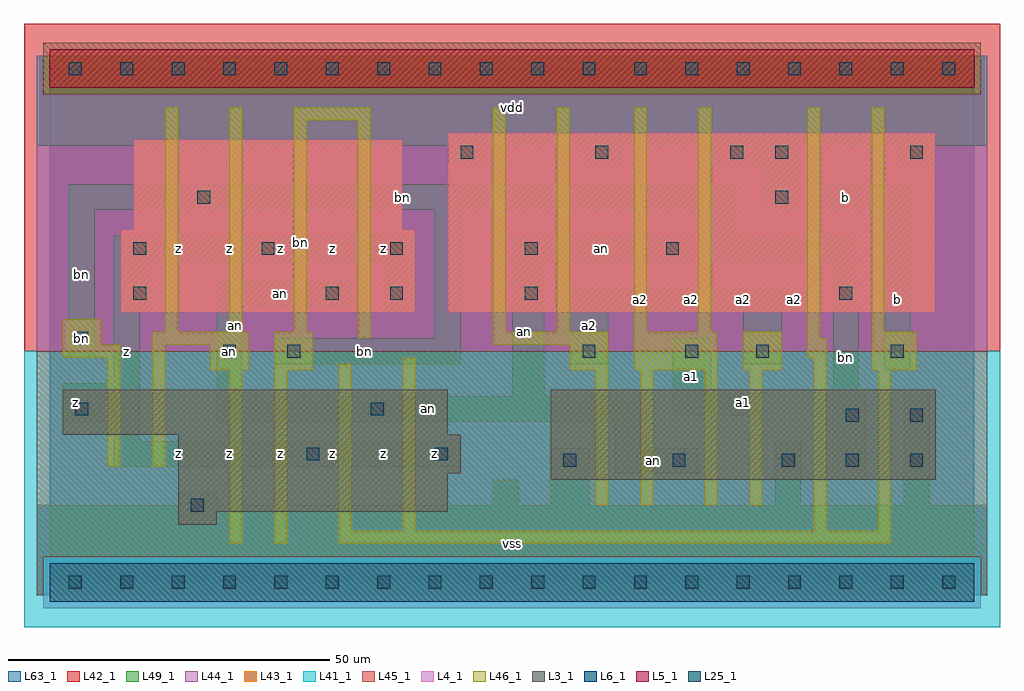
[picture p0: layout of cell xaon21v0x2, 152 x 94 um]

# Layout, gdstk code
import gdstk
lib = gdstk.Library(unit=1e-6, precision=1e-09)
def R(c, l, rs):  # rectangles x0, y0, x1, y1
    for r in rs: c.add(gdstk.rectangle(r[:2], r[2:], *l))
def A(c, l, x, y, w, h, nx, ny, dx, dy):  # array of equal rectangles
    R(c, l, [(x+i*dx, y+j*dy, x+i*dx+w, y+j*dy+h) for i in range(nx) for j in range(ny)])
L3_1 = (3, 1)
L4_1 = (4, 1)
L5_1 = (5, 1)
L6_1 = (6, 1)
L25_1 = (25, 1)
L41_1 = (41, 1)
L42_1 = (42, 1)
L43_1 = (43, 1)
L44_1 = (44, 1)
L45_1 = (45, 1)
L46_1 = (46, 1)
L49_1 = (49, 1)
L63_1 = (63, 1)

xaon21v0x2 = lib.new_cell('xaon21v0x2')
R(xaon21v0x2, L3_1, [(20,9,26,11), (20,11,62,17), (78,16,138,30), (20,17,64,23), (2,23,62,30)])
R(xaon21v0x2, L4_1, [(11,42,57,55), (62,42,138,70), (13,55,55,69)])
R(xaon21v0x2, L5_1, [(0,77,144,83)])
R(xaon21v0x2, L6_1, [(0,-3,144,3), (0,-3,144,3)])
A(xaon21v0x2, L25_1, 3, -1, 2, 2, 18, 2, 8, 80)
A(xaon21v0x2, L25_1, 80, 18, 2, 2, 3, 1, 17, 0)
A(xaon21v0x2, L25_1, 13, 51, 2, 2, 3, 1, 20, 0)
A(xaon21v0x2, L25_1, 64, 66, 2, 2, 3, 1, 21, 0)
R(xaon21v0x2, L25_1, [(22,11,24,13), (124,18,126,20), (134,18,136,20), (40,19,42,21), (60,19,62,21), (124,25,126,27), (134,25,136,27), (4,26,6,28), (50,26,52,28), (27,35,29,37), (37,35,39,37), (83,35,85,37), (99,35,101,37), (110,35,112,37), (131,35,133,37), (4,37,6,39), (13,44,15,46), (43,44,45,46), (53,44,55,46), (74,44,76,46), (123,44,125,46), (74,51,76,53), (96,51,98,53), (23,59,25,61), (113,59,115,61), (113,66,115,68), (134,66,136,68)])
R(xaon21v0x2, L41_1, [(-4,-7,148,36)])
R(xaon21v0x2, L42_1, [(-4,36,148,87)])
R(xaon21v0x2, L43_1, [(0,-3,144,3), (20,9,26,11), (20,11,62,17), (78,16,138,30), (20,17,64,23), (2,23,62,30), (11,42,57,55), (62,42,138,70), (13,55,55,69), (0,77,144,83)])
R(xaon21v0x2, L44_1, [(-1,-4,145,4), (-2,36,146,76), (-2,76,-1,82), (145,76,146,82)])
R(xaon21v0x2, L45_1, [(-2,-2,-1,4), (145,-2,146,4), (-2,4,146,36), (-1,76,145,84)])
R(xaon21v0x2, L46_1, [(28,6,30,33), (35,6,37,33), (45,6,131,8), (45,8,47,34), (55,8,57,35), (119,8,121,35), (129,8,131,33), (85,12,87,33), (92,12,94,33), (102,12,104,33), (109,12,111,33), (9,18,11,35), (16,18,18,37), (25,33,31,37), (35,33,41,39), (81,33,87,37), (91,33,104,39), (108,33,114,39), (128,33,135,39), (2,35,11,37), (118,35,121,38), (2,37,8,41), (16,37,31,39), (69,37,87,39), (48,38,50,72), (118,38,120,74), (18,39,20,74), (28,39,30,74), (38,39,40,72), (69,39,71,74), (79,39,81,74), (91,39,93,74), (101,39,103,74), (128,39,130,74), (38,72,50,74)])
R(xaon21v0x2, L49_1, [(-2,-2,146,12), (20,12,26,14), (69,12,73,16), (78,12,84,21), (113,12,117,22), (133,12,137,29), (122,16,127,29), (88,17,101,21), (10,18,64,22), (88,21,92,25), (10,22,14,25), (2,25,14,31), (26,25,92,29), (97,26,111,30), (26,29,30,43), (72,29,77,50), (122,29,126,50), (97,30,103,38), (10,31,14,42), (130,33,134,58), (35,34,64,38), (81,34,87,42), (108,34,114,42), (3,35,7,58), (60,38,64,58), (10,42,16,50), (52,42,57,50), (81,42,119,46), (26,43,47,47), (10,50,57,54), (72,50,100,54), (103,50,126,54), (103,54,107,58), (3,58,107,62), (111,58,117,65), (121,58,134,62), (62,65,68,68), (83,65,89,68), (103,65,117,68), (132,65,138,68), (-2,68,146,82)])
R(xaon21v0x2, L63_1, [(0,0,144,80)])
xaon21v0x2.add(gdstk.Label('bn', (5,38), layer=49, texttype=1))
xaon21v0x2.add(gdstk.Label('an', (29,40), layer=46, texttype=1))
xaon21v0x2.add(gdstk.Label('bn', (39,53), layer=46, texttype=1))
xaon21v0x2.add(gdstk.Label('z', (20,20), layer=49, texttype=1))
xaon21v0x2.add(gdstk.Label('z', (4,28), layer=49, texttype=1))
xaon21v0x2.add(gdstk.Label('z', (12,36), layer=49, texttype=1))
xaon21v0x2.add(gdstk.Label('z', (20,52), layer=49, texttype=1))
xaon21v0x2.add(gdstk.Label('bn', (5,48), layer=49, texttype=1))
xaon21v0x2.add(gdstk.Label('z', (28,20), layer=49, texttype=1))
xaon21v0x2.add(gdstk.Label('z', (36,20), layer=49, texttype=1))
xaon21v0x2.add(gdstk.Label('z', (44,20), layer=49, texttype=1))
xaon21v0x2.add(gdstk.Label('z', (52,20), layer=49, texttype=1))
xaon21v0x2.add(gdstk.Label('an', (28,36), layer=49, texttype=1))
xaon21v0x2.add(gdstk.Label('an', (36,45), layer=49, texttype=1))
xaon21v0x2.add(gdstk.Label('z', (36,52), layer=49, texttype=1))
xaon21v0x2.add(gdstk.Label('z', (44,52), layer=49, texttype=1))
xaon21v0x2.add(gdstk.Label('z', (52,52), layer=49, texttype=1))
xaon21v0x2.add(gdstk.Label('z', (28,52), layer=49, texttype=1))
xaon21v0x2.add(gdstk.Label('vss', (72,6), layer=49, texttype=1))
xaon21v0x2.add(gdstk.Label('z', (60,20), layer=49, texttype=1))
xaon21v0x2.add(gdstk.Label('bn', (49,36), layer=49, texttype=1))
xaon21v0x2.add(gdstk.Label('a2', (84,40), layer=49, texttype=1))
xaon21v0x2.add(gdstk.Label('an', (74,39), layer=49, texttype=1))
xaon21v0x2.add(gdstk.Label('vdd', (72,74), layer=49, texttype=1))
xaon21v0x2.add(gdstk.Label('an', (94,19), layer=49, texttype=1))
xaon21v0x2.add(gdstk.Label('an', (59,27), layer=49, texttype=1))
xaon21v0x2.add(gdstk.Label('a1', (108,28), layer=49, texttype=1))
xaon21v0x2.add(gdstk.Label('a1', (100,32), layer=49, texttype=1))
xaon21v0x2.add(gdstk.Label('a2', (100,44), layer=49, texttype=1))
xaon21v0x2.add(gdstk.Label('a2', (108,44), layer=49, texttype=1))
xaon21v0x2.add(gdstk.Label('a2', (92,44), layer=49, texttype=1))
xaon21v0x2.add(gdstk.Label('an', (86,52), layer=49, texttype=1))
xaon21v0x2.add(gdstk.Label('bn', (55,60), layer=49, texttype=1))
xaon21v0x2.add(gdstk.Label('a2', (116,44), layer=49, texttype=1))
xaon21v0x2.add(gdstk.Label('b', (132,44), layer=49, texttype=1))
xaon21v0x2.add(gdstk.Label('bn', (124,35), layer=49, texttype=1))
xaon21v0x2.add(gdstk.Label('b', (124,60), layer=49, texttype=1))

lib.write_gds('xaon21v0x2.gds')
